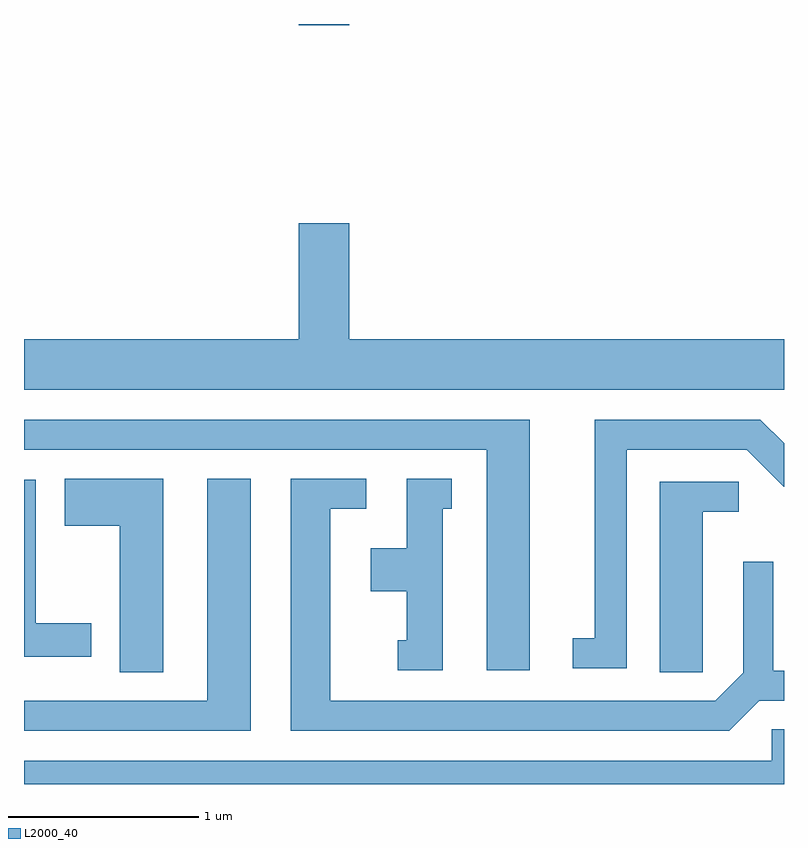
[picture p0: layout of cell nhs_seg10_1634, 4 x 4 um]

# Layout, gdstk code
import gdstk
lib = gdstk.Library(unit=1e-6, precision=1e-09)
def R(c, l, rs):  # rectangles x0, y0, x1, y1
    for r in rs: c.add(gdstk.rectangle(r[:2], r[2:], *l))
def P(c, l, *ps):  # polygons
    for p in ps: c.add(gdstk.Polygon(p, *l))
L2000_40 = (2000, 40)

nhs_seg10_1634 = lib.new_cell('nhs_seg10_1634')
R(nhs_seg10_1634, L2000_40, [(235.056,2102.516,235.324,2102.522)])
P(nhs_seg10_1634, L2000_40, [(237.611,2100.864),(235.324,2100.864),(235.324,2101.474),(235.056,2101.474),(235.056,2100.864),(233.611,2100.864),(233.611,2100.596),(237.611,2100.596)],
  [(236.274,2100.439),(233.611,2100.439),(233.611,2100.281),(236.046,2100.281),(236.046,2099.121),(236.274,2099.121)],
  [(236.784,2100.281),(237.414,2100.281),(237.609,2100.086),(237.611,2100.086),(237.611,2100.315),(237.487,2100.439),(236.616,2100.439),(236.616,2099.289),(236.498,2099.289),(236.498,2099.131),(236.784,2099.131)],
  [(237.482,2098.961),(237.611,2098.961),(237.611,2099.119),(237.554,2099.119),(237.554,2099.693),(237.396,2099.693),(237.396,2099.107),(237.249,2098.959),(235.224,2098.959),(235.224,2099.971),(235.413,2099.971),(235.413,2100.129),(235.016,2100.129),(235.016,2098.801),(237.322,2098.801)],
  [(234.344,2100.129),(233.826,2100.129),(233.826,2099.881),(234.116,2099.881),(234.116,2099.111),(234.344,2099.111)],
  [(234.804,2100.129),(234.576,2100.129),(234.576,2098.959),(233.611,2098.959),(233.611,2098.801),(234.804,2098.801)],
  [(235.814,2099.971),(235.863,2099.971),(235.863,2100.129),(235.626,2100.129),(235.626,2099.764),(235.436,2099.764),(235.436,2099.536),(235.626,2099.536),(235.626,2099.279),(235.578,2099.279),(235.578,2099.121),(235.814,2099.121)],
  [(233.964,2099.369),(233.674,2099.369),(233.674,2100.124),(233.611,2100.124),(233.611,2099.191),(233.964,2099.191)],
  [(237.184,2099.956),(237.373,2099.956),(237.373,2100.114),(236.956,2100.114),(236.956,2099.111),(237.184,2099.111)],
  [(237.611,2098.809),(237.546,2098.809),(237.546,2098.644),(233.611,2098.644),(233.611,2098.522),(237.611,2098.522)])

lib.write_gds('nhs_seg10_1634.gds')
